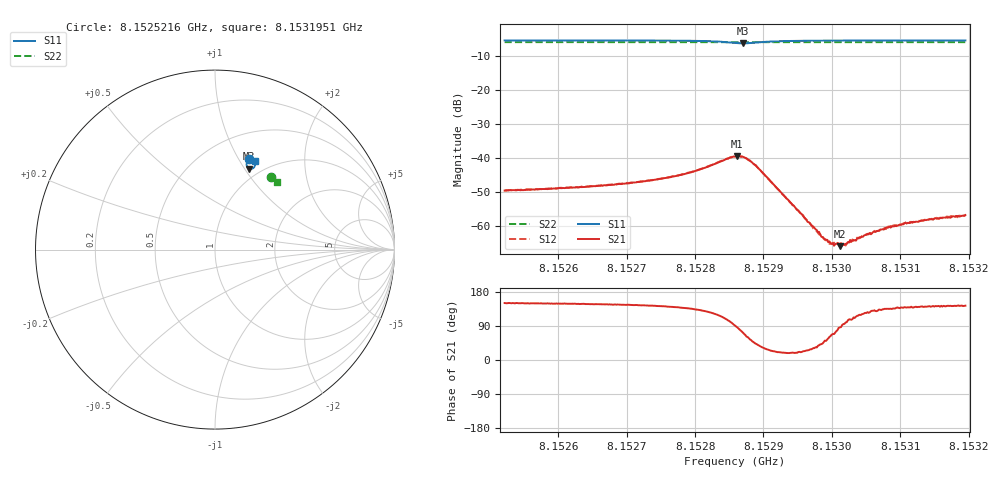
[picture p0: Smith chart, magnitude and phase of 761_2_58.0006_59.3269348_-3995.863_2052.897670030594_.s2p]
#  HZ  S  RI  R  50.00
! Rohde & Schwarz Vector Network Analyzer
! Rohde-Schwarz,ZNB20-2Port,1311601062101988,3.16
! Created: UTC 3/21/2024, 1:24:24 AM
! freq[Hz]  re:S11  im:S11  re:S21  im:S21  re:S12  im:S12  re:S22  im:S22
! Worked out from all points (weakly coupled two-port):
!   401 points, 8.1525216 GHz to 8.1531951 GHz, reference 50 ohm
!   highest |S21| = -39.40 dB at 8.1528617 GHz (marker M1); lowest = -65.9 dB at 8.1530116 GHz (marker M2)
!   lowest |S11| = -6.2 dB at 8.1528701 GHz (marker M3), VSWR 2.93, Z = 44.2 + j52.6 ohm
!   |S11| at or under -10 dB: nowhere
!   |S22| runs from -5.9 to -5.8 dB; largest |S21 - S12| = 0.00041
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8.15252162e9  0.1903 0.5058  -0.00289 0.00165  -0.00288 0.00171  0.311 0.4054
8.15263443e9  0.1997 0.5018  -0.00318 0.00199  -0.00319 0.00211  0.3166 0.4008
8.15270009e9  0.206 0.4986  -0.0035 0.00238  -0.00353 0.0025  0.3197 0.3981
8.15274723e9  0.2116 0.4951  -0.0039 0.00301  -0.00388 0.00307  0.3221 0.3959
8.15279774e9  0.219 0.4869  -0.00444 0.00453  -0.00443 0.00464  0.3246 0.3937
8.15283646e9  0.2223 0.4687  -0.00391 0.00796  -0.0038 0.00811  0.3262 0.3914
8.15285835e9  0.2081 0.4517  -0.000151 0.0105  6.73e-05 0.0107  0.3266 0.3901
8.15286172e9  0.2037 0.4504  0.000746 0.0107  0.00107 0.0106  0.3264 0.3901
8.15287014e9  0.1911 0.4517  0.00324 0.00993  0.00364 0.00984  0.3265 0.39
8.15288024e9  0.1796 0.461  0.00539 0.00746  0.00548 0.0073  0.3267 0.3902
8.15289034e9  0.1761 0.4729  0.00562 0.00494  0.00571 0.00484  0.3271 0.3901
8.15297116e9  0.2002 0.4972  0.000875 0.000492  0.000867 0.000482  0.3322 0.3873
8.15298631e9  0.203 0.4973  0.000502 0.000473  0.000509 0.000508  0.333 0.3866
8.15299641e9  0.2047 0.4972  0.000289 0.00052  0.000276 0.000472  0.3334 0.3862
8.15300146e9  0.2055 0.4972  0.000205 0.000525  0.000203 0.000519  0.3336 0.386
8.15301156e9  0.207 0.497  3.43e-05 0.000505  4.32e-05 0.000523  0.3342 0.3856
8.1530183e9  0.2078 0.497  -4.98e-05 0.000527  -4.89e-05 0.000539  0.3345 0.3853
8.15305197e9  0.2119 0.496  -0.000454 0.000621  -0.000453 0.000599  0.3362 0.3837
8.15308396e9  0.2152 0.4952  -0.000698 0.000699  -0.000671 0.000675  0.3376 0.3824
8.15310922e9  0.2177 0.4945  -0.000816 0.000722  -0.00082 0.000742  0.339 0.3813
8.15313952e9  0.2202 0.4934  -0.000964 0.000783  -0.000971 0.000807  0.3403 0.38
8.15319508e9  0.2246 0.4919  -0.00117 0.000867  -0.00113 0.000908  0.3428 0.3776
